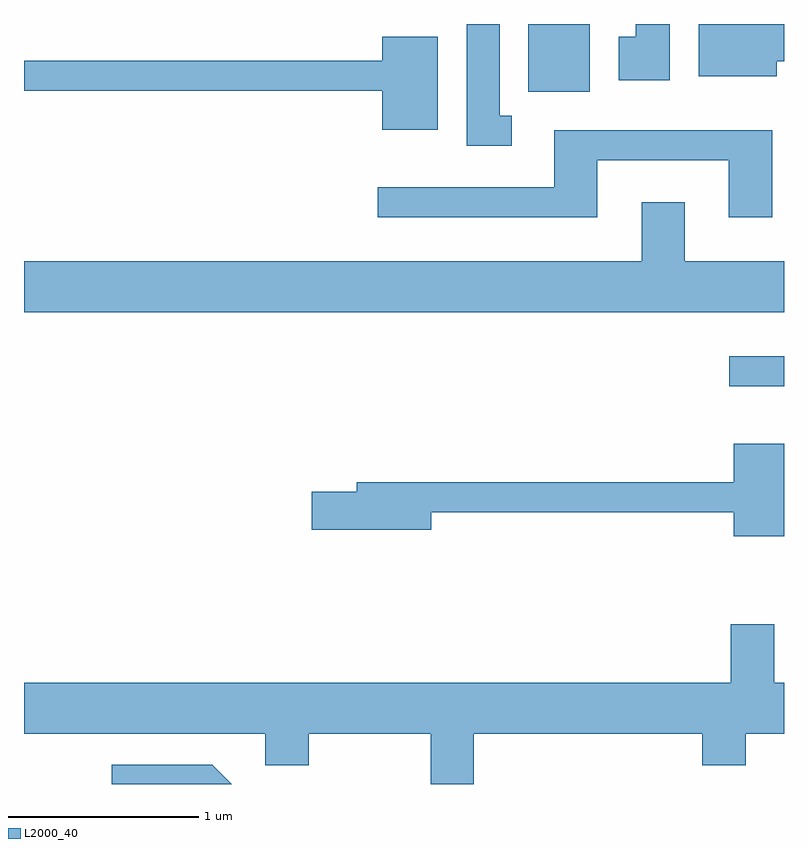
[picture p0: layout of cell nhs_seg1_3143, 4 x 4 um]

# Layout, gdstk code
import gdstk
lib = gdstk.Library(unit=1e-6, precision=1e-09)
def R(c, l, rs):  # rectangles x0, y0, x1, y1
    for r in rs: c.add(gdstk.rectangle(r[:2], r[2:], *l))
def P(c, l, *ps):  # polygons
    for p in ps: c.add(gdstk.Polygon(p, *l))
L2000_40 = (2000, 40)

nhs_seg1_3143 = lib.new_cell('nhs_seg1_3143')
R(nhs_seg1_3143, L2000_40, [(283.323,945.806,283.611,945.964), (282.266,947.356,282.589,947.712)])
P(nhs_seg1_3143, L2000_40, [(283.574,947.516),(283.611,947.516),(283.611,947.712),(283.161,947.712),(283.161,947.436),(283.574,947.436)],
  [(282.178,947.229),(282.114,947.229),(282.114,947.712),(281.941,947.712),(281.941,947.071),(282.178,947.071)],
  [(283.009,947.712),(282.831,947.712),(282.831,947.644),(282.741,947.644),(282.741,947.416),(283.009,947.416)],
  [(281.789,947.644),(281.496,947.644),(281.496,947.519),(279.611,947.519),(279.611,947.361),(281.496,947.361),(281.496,947.156),(281.789,947.156)],
  [(282.629,946.996),(283.321,946.996),(283.321,946.696),(283.549,946.696),(283.549,947.154),(282.401,947.154),(282.401,946.854),(281.473,946.854),(281.473,946.696),(282.629,946.696)],
  [(283.611,946.464),(283.089,946.464),(283.089,946.774),(282.861,946.774),(282.861,946.464),(279.611,946.464),(279.611,946.196),(283.611,946.196)],
  [(283.611,945.504),(283.346,945.504),(283.346,945.299),(281.361,945.299),(281.361,945.249),(281.126,945.249),(281.126,945.051),(281.754,945.051),(281.754,945.141),(283.346,945.141),(283.346,945.016),(283.611,945.016)],
  [(281.979,943.976),(283.181,943.976),(283.181,943.811),(283.409,943.811),(283.409,943.976),(283.611,943.976),(283.611,944.244),(283.559,944.244),(283.559,944.554),(283.331,944.554),(283.331,944.244),(279.611,944.244),(279.611,943.976),(280.881,943.976),(280.881,943.811),(281.109,943.811),(281.109,943.976),(281.751,943.976),(281.751,943.712),(281.979,943.712)],
  [(280.602,943.814),(280.073,943.814),(280.073,943.712),(280.704,943.712)])

lib.write_gds('nhs_seg1_3143.gds')
